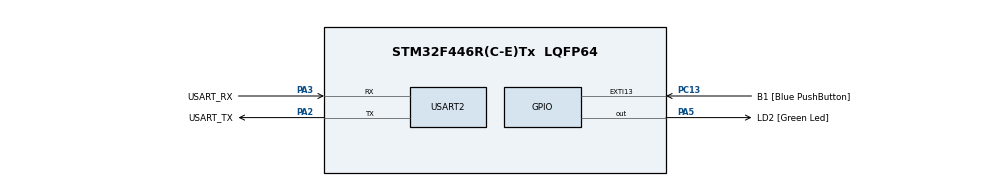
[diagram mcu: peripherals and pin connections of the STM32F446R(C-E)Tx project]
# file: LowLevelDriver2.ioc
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Mcu.Family=STM32F4
Mcu.Name=STM32F446R(C-E)Tx
Mcu.Package=LQFP64
NVIC.EXTI15_10_IRQn=true\:0\:0\:false\:false\:true\:true\:true\:true
NVIC.PriorityGroup=NVIC_PRIORITYGROUP_0
PA13.GPIO_Label=TMS
PA13.Mode=Serial_Wire
PA13.Signal=SYS_JTMS-SWDIO
PA14.GPIO_Label=TCK
PA14.Mode=Serial_Wire
PA14.Signal=SYS_JTCK-SWCLK
PA2.GPIO_Label=USART_TX
PA2.Mode=Asynchronous
PA2.Signal=USART2_TX
PA3.GPIO_Label=USART_RX
PA3.Mode=Asynchronous
PA3.Signal=USART2_RX
PA5.GPIO_Label=LD2 [Green Led]
PA5.Signal=GPIO_Output
PB3.GPIO_Label=SWO
PB3.Signal=SYS_JTDO-SWO
PC13.GPIO_Label=B1 [Blue PushButton]
PC13.GPIO_ModeDefaultEXTI=GPIO_MODE_IT_FALLING
PC13.Signal=GPXTI13
PC14-OSC32_IN.Mode=LSE-External-Oscillator
PC14-OSC32_IN.Signal=RCC_OSC32_IN
PC15-OSC32_OUT.Mode=LSE-External-Oscillator
PC15-OSC32_OUT.Signal=RCC_OSC32_OUT
PH0-OSC_IN.Mode=HSE-External-Oscillator
PH0-OSC_IN.Signal=RCC_OSC_IN
PH1-OSC_OUT.Mode=HSE-External-Oscillator
PH1-OSC_OUT.Signal=RCC_OSC_OUT
ProjectManager.HeapSize=0x200
ProjectManager.StackSize=0x400
ProjectManager.TargetToolchain=STM32CubeIDE
RCC.48MHZClocksFreq_Value=84000000
RCC.AHBFreq_Value=84000000
RCC.APB1CLKDivider=RCC_HCLK_DIV2
RCC.APB1Freq_Value=42000000
RCC.APB1TimFreq_Value=84000000
RCC.APB2Freq_Value=84000000
RCC.APB2TimFreq_Value=84000000
RCC.CortexFreq_Value=84000000
RCC.FLatency-AdvancedSettings=FLASH_LATENCY_2
RCC.HCLKFreq_Value=84000000
RCC.HSE_VALUE=8000000
RCC.HSI_VALUE=16000000
RCC.PLLN=336
RCC.PLLP=RCC_PLLP_DIV4
RCC.SYSCLKFreq_VALUE=84000000
RCC.SYSCLKSource=RCC_SYSCLKSOURCE_PLLCLK
RCC.USBFreq_Value=168000000
RCC.VCOOutputFreq_Value=336000000
USART2.VirtualMode=VM_ASYNC
board=NUCLEO-F446RE

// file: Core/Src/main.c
/* USER CODE BEGIN Header */
/**
  ******************************************************************************
  * @file           : main.c
  * @brief          : Main program body
  ******************************************************************************
  * @attention
  *
  * Copyright (c) 2025 STMicroelectronics.
  * All rights reserved.
  *
  * This software is licensed under terms that can be found in the LICENSE file
  * in the root directory of this software component.
  * If no LICENSE file comes with this software, it is provided AS-IS.
  *
  ******************************************************************************
  */
/* USER CODE END Header */
#include "main.h"

void SystemClock_Config(void);
static void MX_GPIO_Init(void);
static void MX_USART2_UART_Init(void);
/* USER CODE BEGIN PFP */

// defines UART functions
void UART2_send(char c);
void UART2_string(char *str);
char UART2_receive(void);

/* USER CODE END PFP */

/* USER CODE BEGIN 0 */

// sends character into the Tx register
void UART2_send(char c) {
	// USART2->SR contains flags of the USART peripheral (contains USART_SR_TXE)
	// USART_SR_TXE if a bit mask that is set when the transmit data register is empty
	// when ANDed together, it checks if the bit mask is set
    while (!(USART2->SR & USART_SR_TXE));  // Wait until TX is empty
    USART2->DR = c;  // Load data into transmit register
}

// parses inputted string into characters for the send function
void UART2_string(char *str) {
    while (*str) {
        UART2_send(*str++);
    }
}

// receives character from the Rx register
char UART2_receive(void) {
    while (!(USART2->SR & USART_SR_RXNE));  // Wait for RX buffer to fill
    return USART2->DR;  // Read received data
}

/* USER CODE END 0 */

int main(void)
{

  /* MCU Configuration--------------------------------------------------------*/

  /* Reset of all peripherals, Initializes the Flash interface and the Systick. */
  LL_APB2_GRP1_EnableClock(LL_APB2_GRP1_PERIPH_SYSCFG);
  LL_APB1_GRP1_EnableClock(LL_APB1_GRP1_PERIPH_PWR);

  /* System interrupt init*/
  NVIC_SetPriorityGrouping(NVIC_PRIORITYGROUP_0);

  /* Configure the system clock */
  SystemClock_Config();

  /* Initialize all configured peripherals */
  MX_GPIO_Init();
  MX_USART2_UART_Init();
  /* USER CODE BEGIN 2 */

  // Step 1: Enable GPIOA clock (RCC_AHB1ENR register)
  RCC->AHB1ENR |= RCC_AHB1ENR_GPIOAEN;  // Enable GPIOA clock

  // Step 2: Configure PA5 as output (MODER register)
  GPIOA->MODER &= ~(0x3 << (5 * 2));  // Clear bits for PA5
  GPIOA->MODER |= (0x1 << (5 * 2));   // Set PA5 to output mode

  RCC->APB1ENR |= RCC_APB1ENR_USART2EN;  // Enable USART2 clock

  // 2️⃣ Configure PA2 (TX) and PA3 (RX) as Alternate Function Mode
  GPIOA->MODER &= ~((3U << (2 * 2)) | (3U << (3 * 2)));  // Clear bits
  GPIOA->MODER |=  (2U << (2 * 2)) | (2U << (3 * 2));    // Set to Alternate Function (AF)

  // 3️⃣ Set Alternate Function to AF7 (USART2) for PA2 and PA3
  GPIOA->AFR[0] |= (7U << (2 * 4)) | (7U << (3 * 4));   // AF7 for PA2, PA3

  // 4️⃣ Configure USART2: 115200 baud, 8N1 format
  USART2->BRR = 0x0164;   // Baud rate = 115200 (assuming 16 MHz system clock)
  USART2->CR1 = USART_CR1_TE | USART_CR1_RE; // Enable TX & RX
  USART2->CR1 |= USART_CR1_UE;  // Enable USART2

  /* USER CODE END 2 */

  /* Infinite loop */
  while (1)
  {
	  UART2_string("Hello, World!\r\n");	// send message
	  // must use volatile when accessing memory-mapped I/O registers like (UART hardware registers)
	  for (volatile int i = 0; i < 10000000; i++);  // Simple delay
  }
}

void SystemClock_Config(void)
{
  LL_FLASH_SetLatency(LL_FLASH_LATENCY_2);
  while(LL_FLASH_GetLatency()!= LL_FLASH_LATENCY_2)
  {
  }
  LL_PWR_SetRegulVoltageScaling(LL_PWR_REGU_VOLTAGE_SCALE3);
  LL_PWR_DisableOverDriveMode();
  LL_RCC_HSI_SetCalibTrimming(16);
  LL_RCC_HSI_Enable();

   /* Wait till HSI is ready */
  while(LL_RCC_HSI_IsReady() != 1)
  {

  }
  LL_RCC_PLL_ConfigDomain_SYS(LL_RCC_PLLSOURCE_HSI, LL_RCC_PLLM_DIV_16, 336, LL_RCC_PLLP_DIV_4);
  LL_RCC_PLL_Enable();

   /* Wait till PLL is ready */
  while(LL_RCC_PLL_IsReady() != 1)
  {

  }
  while (LL_PWR_IsActiveFlag_VOS() == 0)
  {
  }
  LL_RCC_SetAHBPrescaler(LL_RCC_SYSCLK_DIV_1);
  LL_RCC_SetAPB1Prescaler(LL_RCC_APB1_DIV_2);
  LL_RCC_SetAPB2Prescaler(LL_RCC_APB2_DIV_1);
  LL_RCC_SetSysClkSource(LL_RCC_SYS_CLKSOURCE_PLL);

   /* Wait till System clock is ready */
  while(LL_RCC_GetSysClkSource() != LL_RCC_SYS_CLKSOURCE_STATUS_PLL)
  {

  }
  LL_Init1msTick(84000000);
  LL_SetSystemCoreClock(84000000);
  LL_RCC_SetTIMPrescaler(LL_RCC_TIM_PRESCALER_TWICE);
}

static void MX_USART2_UART_Init(void)
{

  LL_USART_InitTypeDef USART_InitStruct = {0};

  LL_GPIO_InitTypeDef GPIO_InitStruct = {0};

  /* Peripheral clock enable */
  LL_APB1_GRP1_EnableClock(LL_APB1_GRP1_PERIPH_USART2);

  LL_AHB1_GRP1_EnableClock(LL_AHB1_GRP1_PERIPH_GPIOA);
  /**USART2 GPIO Configuration
  PA2   ------> USART2_TX
  PA3   ------> USART2_RX
  */
  GPIO_InitStruct.Pin = USART_TX_Pin|USART_RX_Pin;
  GPIO_InitStruct.Mode = LL_GPIO_MODE_ALTERNATE;
  GPIO_InitStruct.Speed = LL_GPIO_SPEED_FREQ_VERY_HIGH;
  GPIO_InitStruct.OutputType = LL_GPIO_OUTPUT_PUSHPULL;
  GPIO_InitStruct.Pull = LL_GPIO_PULL_NO;
  GPIO_InitStruct.Alternate = LL_GPIO_AF_7;
  LL_GPIO_Init(GPIOA, &GPIO_InitStruct);

  USART_InitStruct.BaudRate = 115200;
  USART_InitStruct.DataWidth = LL_USART_DATAWIDTH_8B;
  USART_InitStruct.StopBits = LL_USART_STOPBITS_1;
  USART_InitStruct.Parity = LL_USART_PARITY_NONE;
  USART_InitStruct.TransferDirection = LL_USART_DIRECTION_TX_RX;
  USART_InitStruct.HardwareFlowControl = LL_USART_HWCONTROL_NONE;
  USART_InitStruct.OverSampling = LL_USART_OVERSAMPLING_16;
  LL_USART_Init(USART2, &USART_InitStruct);
  LL_USART_ConfigAsyncMode(USART2);
  LL_USART_Enable(USART2);

}

static void MX_GPIO_Init(void)
{
  LL_EXTI_InitTypeDef EXTI_InitStruct = {0};
  LL_GPIO_InitTypeDef GPIO_InitStruct = {0};

  /* GPIO Ports Clock Enable */
  LL_AHB1_GRP1_EnableClock(LL_AHB1_GRP1_PERIPH_GPIOC);
  LL_AHB1_GRP1_EnableClock(LL_AHB1_GRP1_PERIPH_GPIOH);
  LL_AHB1_GRP1_EnableClock(LL_AHB1_GRP1_PERIPH_GPIOA);
  LL_AHB1_GRP1_EnableClock(LL_AHB1_GRP1_PERIPH_GPIOB);

  /**/
  LL_GPIO_ResetOutputPin(LD2_GPIO_Port, LD2_Pin);

  /**/
  LL_SYSCFG_SetEXTISource(LL_SYSCFG_EXTI_PORTC, LL_SYSCFG_EXTI_LINE13);

  /**/
  EXTI_InitStruct.Line_0_31 = LL_EXTI_LINE_13;
  EXTI_InitStruct.LineCommand = ENABLE;
  EXTI_InitStruct.Mode = LL_EXTI_MODE_IT;
  EXTI_InitStruct.Trigger = LL_EXTI_TRIGGER_FALLING;
  LL_EXTI_Init(&EXTI_InitStruct);

  /**/
  LL_GPIO_SetPinPull(B1_GPIO_Port, B1_Pin, LL_GPIO_PULL_NO);

  /**/
  LL_GPIO_SetPinMode(B1_GPIO_Port, B1_Pin, LL_GPIO_MODE_INPUT);

  /**/
  GPIO_InitStruct.Pin = LD2_Pin;
  GPIO_InitStruct.Mode = LL_GPIO_MODE_OUTPUT;
  GPIO_InitStruct.Speed = LL_GPIO_SPEED_FREQ_LOW;
  GPIO_InitStruct.OutputType = LL_GPIO_OUTPUT_PUSHPULL;
  GPIO_InitStruct.Pull = LL_GPIO_PULL_NO;
  LL_GPIO_Init(LD2_GPIO_Port, &GPIO_InitStruct);

  /* EXTI interrupt init*/
  NVIC_SetPriority(EXTI15_10_IRQn, NVIC_EncodePriority(NVIC_GetPriorityGrouping(),0, 0));
  NVIC_EnableIRQ(EXTI15_10_IRQn);

}

void Error_Handler(void)
{
  __disable_irq();
  while (1)
  {
  }
}
